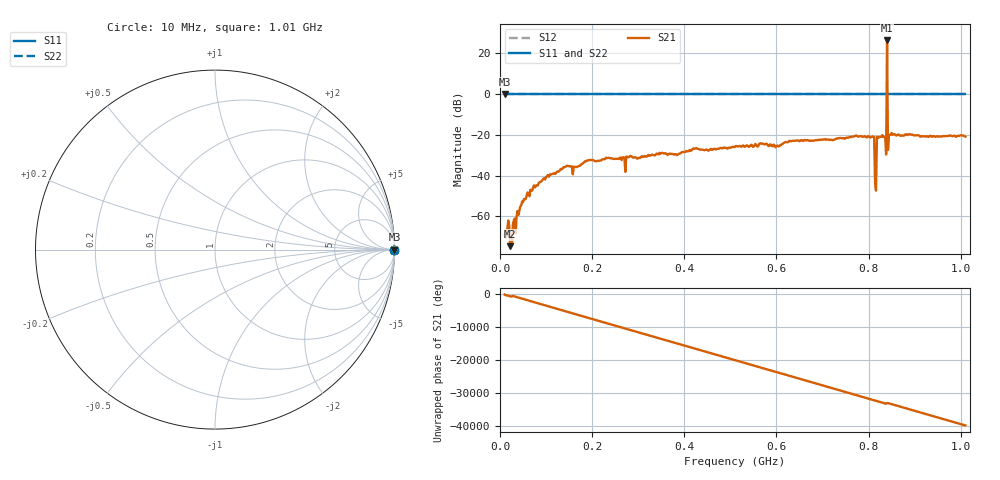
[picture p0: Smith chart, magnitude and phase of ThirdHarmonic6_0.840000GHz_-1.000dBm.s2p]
! 8/16/2025 3:51:21 AM
! C:\ANRITSUVNA\TEMP\TEMP.S2P
! CHANNEL.1
! TR.MEASUREMENT
! RAW.DATA
! RF.CORRECTION.OFF
! AVERAGING.OFF
! IF.BANDWIDTH: 5KHZ
! SWEEPTYPE:  FREQ.SWEEP(Linear)
! Reference Plane Port Info
! PORT:  PORT1  PORT2
! DISTANCE:  0  m  0  m
! TIME:  0  s  0  s
! PHASE.OFFSET:  0  deg.  0  deg.
! LOSS:  0  dB  0  dB
! REF.LOSS:  0  dB  0  dB
! REF.FREQ:  0  Hz  0  Hz
! Power Info
! POWER:  -20  dBm  -20  dBm
! EFF.POWER:  -20  dBm  -20  dBm
! SOURCE.ATTEN:  0  dB  0  dB
! TEST.ATTEN:  0  dB  0  dB
# GHZ S RI R 50.0
! FREQ.GHZ  S11RE  S11IM  S21RE  S21IM  S12RE  S12IM  S22RE  S22IM
!; PortSelection: Port_12
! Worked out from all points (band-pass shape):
!   501 points, 10 MHz to 1.01 GHz, reference 50 ohm
!   highest |S21| = 26.18 dB at 840 MHz (marker M1); lowest = -74.6 dB at 22 MHz (marker M2)
!   |S21| within 3 dB of the highest: 839.8926 MHz to 840.1118 MHz (219.2 kHz wide, 0.0261 % of centre)
!   lowest |S11| = 0.0 dB at 10 MHz (marker M3)
!   |S11| at or under -10 dB: nowhere
!   |S22| runs from 0.0 to 0.0 dB; largest |S21 - S12| = 20
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0.01  1 0  -0.000233 -0.000264  1 0  1 0
0.016  1 0  0.000315 -0.000399  1 0  1 0
0.022  1 0  4.13e-05 0.000182  1 0  1 0
0.026  1 0  0.000193 3.37e-05  1 0  1 0
0.048  1 0  0.0006 0.00223  1 0  1 0
0.07  1 0  -0.00142 -0.00406  1 0  1 0
0.142  1 0  -0.0157 -0.00494  1 0  1 0
0.178  1 0  -0.0191 -0.00242  1 0  1 0
0.344  1 0  0.0293 -0.0147  1 0  1 0
0.51  1 0  -0.0388 0.033  1 0  1 0
0.678  1 0  -0.0628 -0.0342  1 0  1 0
0.808  1 0  0.0909 -0.000958  1 0  1 0
0.812  1 0  -0.0823 -0.0283  1 0  1 0
0.818  1 0  0.0638 -0.0634  1 0  1 0
0.822  1 0  -0.0793 0.0322  1 0  1 0
0.834  1 0  0.072 0.0495  1 0  1 0
0.836  1 0  0.0606 -0.0636  1 0  1 0
0.84  1 0  16.91 11.36  1 0  1 0
0.844  1 0  0.0955 -0.00817  1 0  1 0
0.846  1 0  0.00438 -0.0992  1 0  1 0
0.852  1 0  0.0889 0.0457  1 0  1 0
1.01  1 0  -0.0547 0.0716  1 0  1 0
